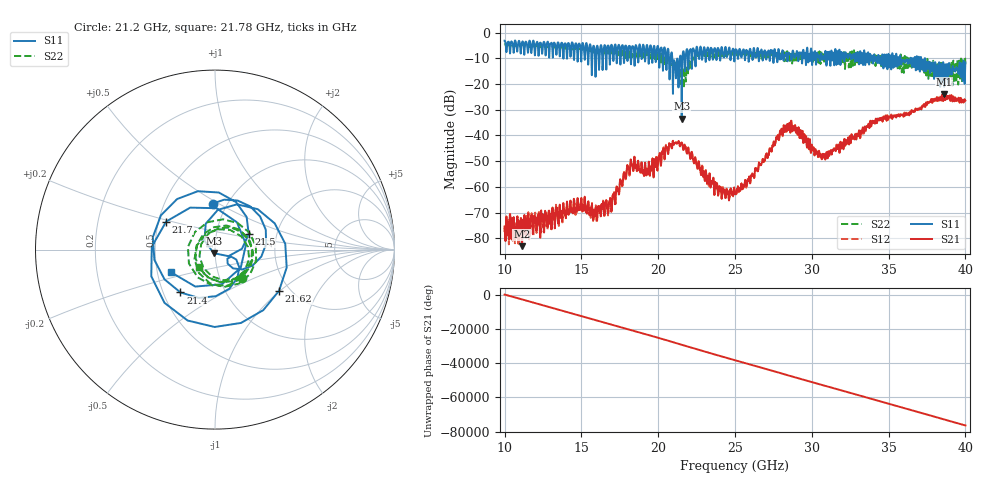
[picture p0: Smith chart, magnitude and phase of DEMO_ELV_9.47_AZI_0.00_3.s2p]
! 11/3/2026 12:47:17 PM
! C:\ANRITSUVNA\TEMP\TEMP.S2P
! CHANNEL.1
! TR.MEASUREMENT
! RAW.DATA
# HZ S RI R 50.0
! FREQ.HZ  S11RE  S11IM  S21RE  S21IM  S12RE  S12IM  S22RE  S22IM
!; PortSelection: Port_12
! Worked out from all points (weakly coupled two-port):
!   3001 points, 10 GHz to 40 GHz, reference 50 ohm
!   highest |S21| = -23.92 dB at 38.61 GHz (marker M1); lowest = -83.1 dB at 11.12 GHz (marker M2)
!   lowest |S11| = -33.5 dB at 21.53 GHz (marker M3), VSWR 1.04, Z = 49.2 - j1.96 ohm
!   |S11| at or under -10 dB: 20.92 GHz to 21.4 GHz (489.8 MHz wide, 2.31 % of centre); 35.78 GHz to 36.44 GHz (663.6 MHz wide, 1.84 % of centre); 37.37 GHz to end of sweep (the widest 3 of 115)
!   |S22| runs from -21.6 to -4.5 dB; largest |S21 - S12| = 0.079
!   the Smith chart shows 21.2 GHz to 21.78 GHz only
!   S11 on the Smith chart (normalised r, x): 21.2 GHz: 0.85, +0.47; 21.4 GHz: 0.61, -0.32; 21.5 GHz: 1.44, +0.26; 21.62 GHz: 1.76, -0.98; 21.7 GHz: 0.55, +0.19; 21.78 GHz: 0.59, -0.16
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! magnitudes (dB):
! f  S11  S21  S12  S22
! 10 GHz  -3.2  -75.4  -76.0  -4.7
! 11.12 GHz  -4.1  -83.1  -80.1  -5.2
! 15 GHz  -10.2  -64.3  -64.8  -6.5
! 16.84 GHz  -11.3  -65.4  -66.3  -7.1
! 18.11 GHz  -5.2  -54.0  -54.4  -8.2
! 20 GHz  -5.7  -49.1  -49.2  -7.8
! 21.2 GHz  -11.8  -43.0  -43.1  -13.2
! 21.4 GHz  -10.3  -44.0  -43.9  -20.1
! 21.5 GHz  -13.7  -42.8  -42.9  -17.0
! 21.53 GHz  -33.5  -42.8  -42.8  -19.3
! 21.62 GHz  -7.4  -45.2  -45.1  -15.0
! 21.7 GHz  -10.1  -43.9  -43.8  -14.9
! 21.78 GHz  -11.2  -44.4  -44.3  -17.4
! 22.69 GHz  -8.9  -52.7  -52.7  -8.0
! 24.02 GHz  -10.0  -61.7  -61.4  -9.1
! 25 GHz  -7.5  -62.5  -62.0  -8.3
! 28.3 GHz  -8.4  -36.1  -35.9  -8.8
! 30 GHz  -10.6  -43.6  -43.7  -8.0
! 30.77 GHz  -9.4  -48.6  -48.5  -8.4
! 35 GHz  -8.5  -33.4  -33.3  -11.0
! 38.61 GHz  -20.5  -23.9  -23.9  -16.0
! 40 GHz  -11.6  -26.5  -26.5  -12.3
